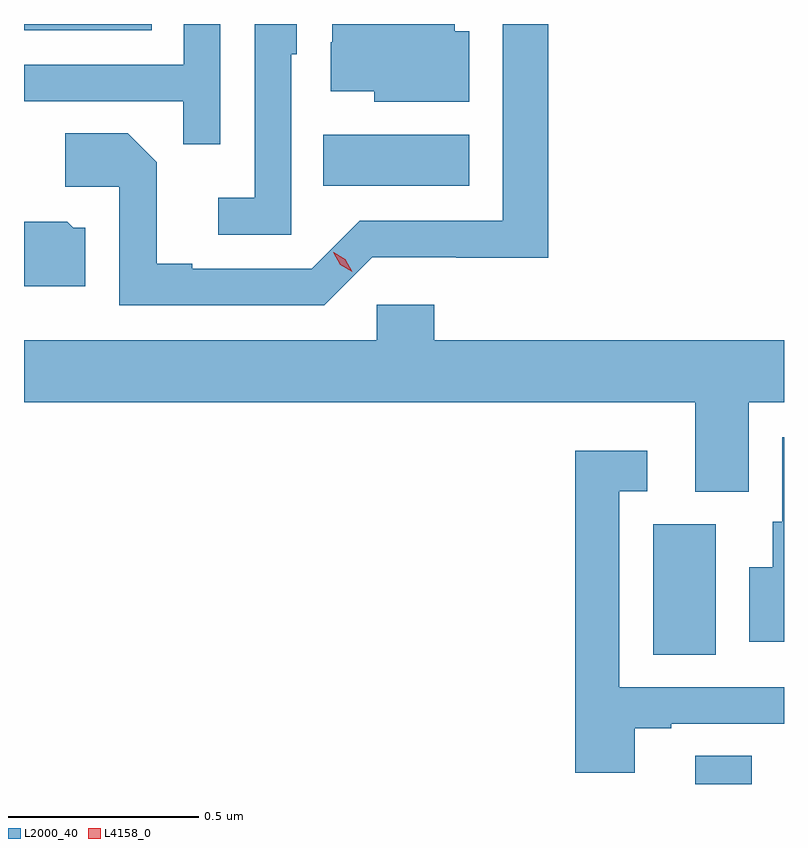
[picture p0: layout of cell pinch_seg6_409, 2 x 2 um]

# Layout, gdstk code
import gdstk
lib = gdstk.Library(unit=1e-6, precision=1e-09)
def R(c, l, rs):  # rectangles x0, y0, x1, y1
    for r in rs: c.add(gdstk.rectangle(r[:2], r[2:], *l))
def P(c, l, *ps):  # polygons
    for p in ps: c.add(gdstk.Polygon(p, *l))
L2000_40 = (2000, 40)
L4158_0 = (4158, 0)

pinch_seg6_409 = lib.new_cell('pinch_seg6_409')
R(pinch_seg6_409, L2000_40, [(659.381,927.684,659.529,927.758), (659.27,928.024,659.434,928.368), (658.402,929.258,658.786,929.392), (657.614,929.667,657.95,929.684)])
P(pinch_seg6_409, L2000_40, [(658.53,929.07),(658.752,929.07),(658.752,929.069),(658.993,929.069),(658.993,929.684),(658.874,929.684),(658.874,929.166),(658.497,929.166),(658.371,929.04),(658.057,929.04),(658.057,929.053),(657.963,929.053),(657.963,929.32),(657.887,929.396),(657.723,929.396),(657.723,929.256),(657.864,929.256),(657.864,928.944),(658.404,928.944)],
  [(658.317,929.604),(658.332,929.604),(658.332,929.684),(658.221,929.684),(658.221,929.227),(658.125,929.227),(658.125,929.13),(658.317,929.13)],
  [(658.131,929.684),(658.035,929.684),(658.035,929.577),(657.614,929.577),(657.614,929.481),(658.033,929.481),(658.033,929.368),(658.131,929.368)],
  [(658.786,929.665),(658.747,929.665),(658.747,929.684),(658.425,929.684),(658.425,929.636),(658.421,929.636),(658.421,929.507),(658.536,929.507),(658.536,929.48),(658.786,929.48)],
  [(657.775,929.148),(657.744,929.148),(657.728,929.164),(657.614,929.164),(657.614,928.994),(657.775,928.994)],
  [(659.521,928.688),(659.614,928.688),(659.614,928.852),(658.694,928.852),(658.694,928.945),(658.542,928.945),(658.542,928.852),(657.614,928.852),(657.614,928.688),(659.381,928.688),(659.381,928.453),(659.521,928.453)],
  [(659.614,928.596),(659.61,928.596),(659.61,928.374),(659.585,928.374),(659.585,928.255),(659.522,928.255),(659.522,928.059),(659.614,928.059)],
  [(659.221,927.831),(659.317,927.831),(659.317,927.843),(659.614,927.843),(659.614,927.939),(659.181,927.939),(659.181,928.455),(659.254,928.455),(659.254,928.561),(659.065,928.561),(659.065,927.714),(659.221,927.714)])
P(pinch_seg6_409, L4158_0, [(658.478,929.032),(658.446,929.051),(658.428,929.084),(658.428,929.084),(658.429,929.084),(658.46,929.065),(658.478,929.032),(658.478,929.032)])

lib.write_gds('pinch_seg6_409.gds')
